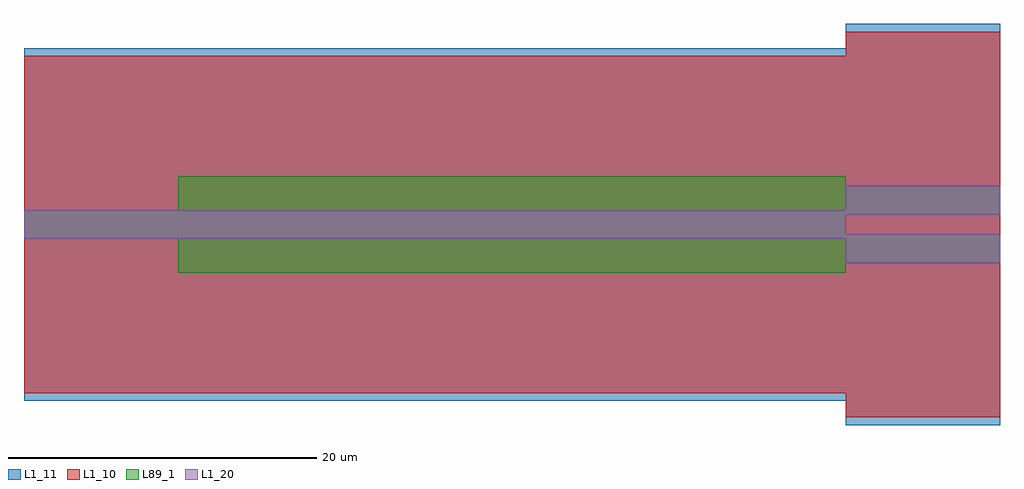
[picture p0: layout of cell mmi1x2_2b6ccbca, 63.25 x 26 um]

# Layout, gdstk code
import gdstk
lib = gdstk.Library(unit=1e-6, precision=1e-09)
def R(c, l, rs):  # rectangles x0, y0, x1, y1
    for r in rs: c.add(gdstk.rectangle(r[:2], r[2:], *l))
L1_10 = (1, 10)
L1_11 = (1, 11)
L1_20 = (1, 20)
L89_1 = (89, 1)

mmi1x2_2b6ccbca = lib.new_cell('mmi1x2_2b6ccbca')
R(mmi1x2_2b6ccbca, L1_10, [(43.25,-12.5,53.25,9.375), (0,-10.938,43.25,10.938), (-10,-10.937,0,10.937), (43.25,-9.375,53.25,12.5)])
R(mmi1x2_2b6ccbca, L1_11, [(43.25,-13,53.25,9.875), (0,-11.438,43.25,11.438), (-10,-11.437,0,11.437), (43.25,-9.875,53.25,13)])
R(mmi1x2_2b6ccbca, L1_20, [(43.25,-2.5,53.25,-0.625), (0,-0.938,43.25,0.938), (-10,-0.937,0,0.937), (43.25,0.625,53.25,2.5)])
R(mmi1x2_2b6ccbca, L89_1, [(0,-3.125,43.25,3.125), (43.25,-2.5,53.25,-0.625), (-10,-0.937,0,0.937), (43.25,0.625,53.25,2.5)])

lib.write_gds('mmi1x2_2b6ccbca.gds')
